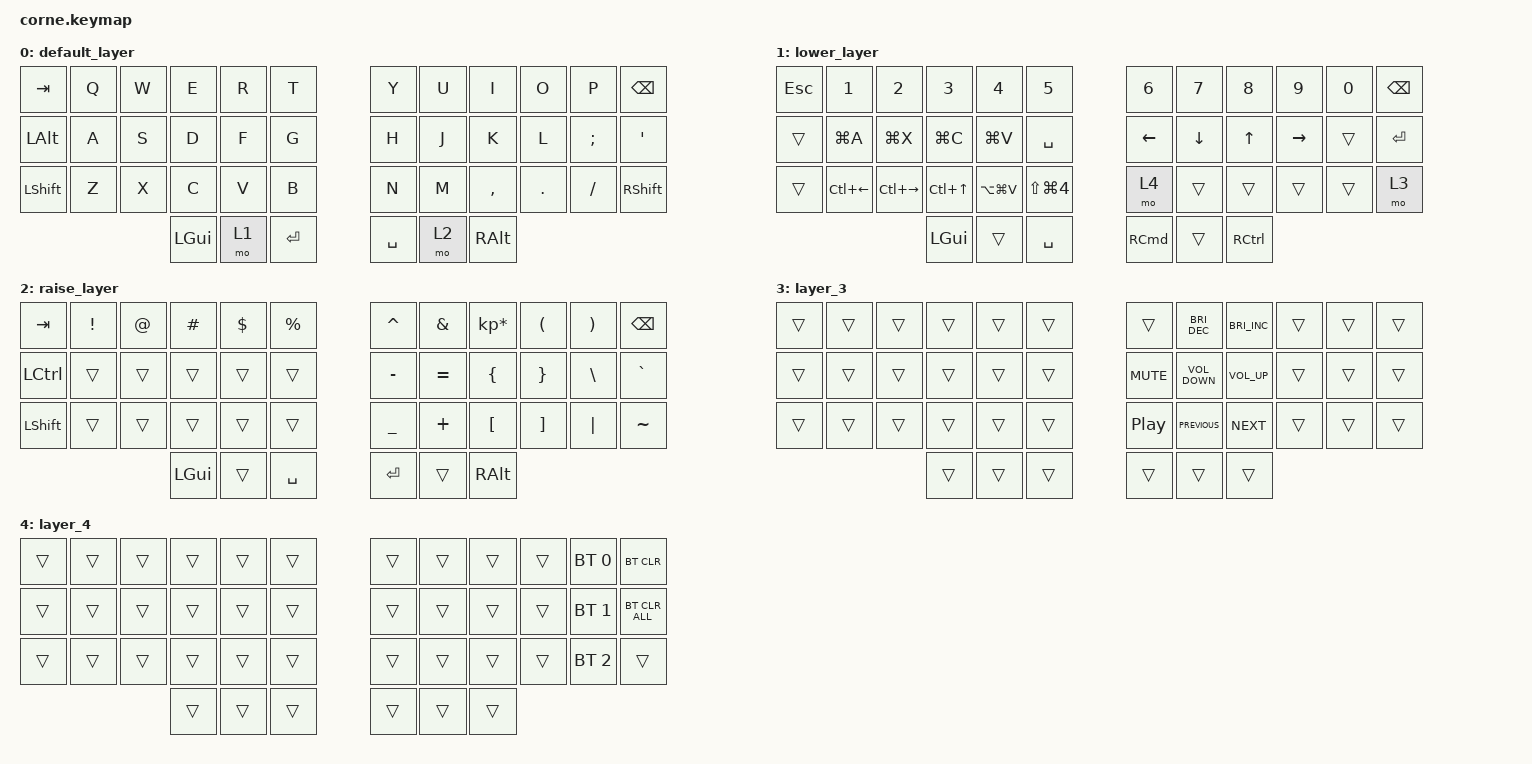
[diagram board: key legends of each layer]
/*
 * Copyright (c) 2020 The ZMK Contributors
 *
 * SPDX-License-Identifier: MIT
 */

#include <behaviors.dtsi>
#include <dt-bindings/zmk/bt.h>
#include <dt-bindings/zmk/keys.h>

/ {
    combos {
        compatible = "zmk,combos";

        l_ctrl_outside_a {
            bindings = <&kp LCTRL>;
            key-positions = <12 13>;
        };

        l_shift_pointer {
            bindings = <&kp LSHIFT>;
            key-positions = <4 5>;
        };

        r_gui {
            bindings = <&kp RIGHT_GUI>;
            key-positions = <23 22>;
        };
    };

    keymap {
        compatible = "zmk,keymap";

        default_layer {
            // -----------------------------------------------------------------------------------------
            // |  TAB |  Q  |  W  |  E  |  R  |  T  |   |  Y  |  U   |  I  |  O  |  P  | BKSP |
            // | CTRL |  A  |  S  |  D  |  F  |  G  |   |  H  |  J   |  K  |  L  |  ;  |  '   |
            // | SHFT |  Z  |  X  |  C  |  V  |  B  |   |  N  |  M   |  ,  |  .  |  /  | ESC  |
            //                    | GUI | LWR | SPC |   | ENT | RSE  | ALT |

            bindings = <
&kp TAB    &kp Q  &kp W  &kp E     &kp R  &kp T         &kp Y      &kp U  &kp I      &kp O    &kp P          &kp BSPC
&kp LALT   &kp A  &kp S  &kp D     &kp F  &kp G         &kp H      &kp J  &kp K      &kp L    &kp SEMICOLON  &kp SQT
&kp LSHFT  &kp Z  &kp X  &kp C     &kp V  &kp B         &kp N      &kp M  &kp COMMA  &kp DOT  &kp FSLH       &kp RIGHT_SHIFT
                         &kp LGUI  &mo 1  &kp RETURN    &kp SPACE  &mo 2  &kp RALT
            >;
        };

        lower_layer {
            // -----------------------------------------------------------------------------------------
            // |  TAB |  1  |  2  |  3  |  4  |  5  |   |  6  |  7  |  8  |  9  |  0  | BKSP |
            // | BTCLR| BT1 | BT2 | BT3 | BT4 | BT5 |   | LFT | DWN |  UP | RGT |     |      |
            // | SHFT |     |     |     |     |     |   |     |     |     |     |     |      |
            //                    | GUI |     | SPC |   | ENT |     | ALT |

            bindings = <
&kp ESCAPE  &kp N1              &kp N2         &kp N3            &kp N4         &kp N5                  &kp N6             &kp N7    &kp N8     &kp N9     &kp N0  &kp BSPC
&trans      &kp LG(A)           &kp LG(X)      &kp LG(C)         &kp LG(V)      &kp SPACE               &kp LEFT           &kp DOWN  &kp UP     &kp RIGHT  &trans  &kp RET
&trans      &kp LC(LEFT_ARROW)  &kp LC(RIGHT)  &kp LC(UP_ARROW)  &kp LA(LG(V))  &kp LS(LG(NUMBER_4))    &mo 4              &trans    &trans     &trans     &trans  &mo 3
                                               &kp LGUI          &trans         &kp SPACE               &kp RIGHT_COMMAND  &trans    &kp RCTRL
            >;
        };

        raise_layer {
            // -----------------------------------------------------------------------------------------
            // |  TAB |  !  |  @  |  #  |  $  |  %  |   |  ^  |  &  |  *  |  (  |  )  | BKSP |
            // | CTRL |     |     |     |     |     |   |  -  |  =  |  [  |  ]  |  \  |  `   |
            // | SHFT |     |     |     |     |     |   |  _  |  +  |  {  |  }  | "|" |  ~   |
            //                    | GUI |     | SPC |   | ENT |     | ALT |

            bindings = <
&kp TAB    &kp EXCL  &kp AT  &kp HASH  &kp DLLR  &kp PRCNT    &kp CARET  &kp AMPS   &kp KP_MULTIPLY   &kp LPAR           &kp RPAR  &kp BSPC
&kp LCTRL  &trans    &trans  &trans    &trans    &trans       &kp MINUS  &kp EQUAL  &kp LEFT_BRACE    &kp RIGHT_BRACE    &kp BSLH  &kp GRAVE
&kp LSHFT  &trans    &trans  &trans    &trans    &trans       &kp UNDER  &kp PLUS   &kp LEFT_BRACKET  &kp RIGHT_BRACKET  &kp PIPE  &kp TILDE
                             &kp LGUI  &trans    &kp SPACE    &kp RET    &trans     &kp RALT
            >;
        };

        layer_3 {
            bindings = <
&trans  &trans  &trans  &trans  &trans  &trans    &trans            &kp C_BRIGHTNESS_DEC  &kp C_BRIGHTNESS_INC  &trans  &trans  &trans
&trans  &trans  &trans  &trans  &trans  &trans    &kp K_MUTE        &kp K_VOLUME_DOWN     &kp K_VOLUME_UP       &trans  &trans  &trans
&trans  &trans  &trans  &trans  &trans  &trans    &kp C_PLAY_PAUSE  &kp C_PREVIOUS        &kp C_NEXT            &trans  &trans  &trans
                        &trans  &trans  &trans    &trans            &trans                &trans
            >;
        };

        layer_4 {
            bindings = <
&trans  &trans  &trans  &trans  &trans  &trans    &trans  &trans  &trans  &trans  &bt BT_SEL 0  &bt BT_CLR
&trans  &trans  &trans  &trans  &trans  &trans    &trans  &trans  &trans  &trans  &bt BT_SEL 1  &bt BT_CLR_ALL
&trans  &trans  &trans  &trans  &trans  &trans    &trans  &trans  &trans  &trans  &bt BT_SEL 2  &trans
                        &trans  &trans  &trans    &trans  &trans  &trans
            >;
        };
    };
};
